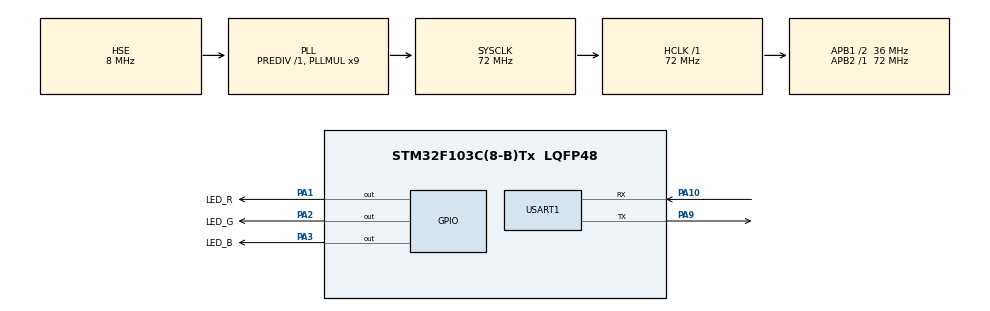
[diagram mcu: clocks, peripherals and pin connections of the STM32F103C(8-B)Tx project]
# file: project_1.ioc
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Mcu.Family=STM32F1
Mcu.Name=STM32F103C(8-B)Tx
Mcu.Package=LQFP48
NVIC.PriorityGroup=NVIC_PRIORITYGROUP_4
NVIC.USART1_IRQn=true\:0\:0\:false\:false\:true\:true\:true\:true
PA1.GPIO_Label=LED_R
PA1.PinState=GPIO_PIN_SET
PA1.Signal=GPIO_Output
PA10.Mode=Asynchronous
PA10.Signal=USART1_RX
PA13.Mode=Serial_Wire
PA13.Signal=SYS_JTMS-SWDIO
PA14.Mode=Serial_Wire
PA14.Signal=SYS_JTCK-SWCLK
PA2.GPIO_Label=LED_G
PA2.PinState=GPIO_PIN_SET
PA2.Signal=GPIO_Output
PA3.GPIO_Label=LED_B
PA3.PinState=GPIO_PIN_SET
PA3.Signal=GPIO_Output
PA9.Mode=Asynchronous
PA9.Signal=USART1_TX
PC14-OSC32_IN.Mode=LSE-External-Oscillator
PC14-OSC32_IN.Signal=RCC_OSC32_IN
PC15-OSC32_OUT.Mode=LSE-External-Oscillator
PC15-OSC32_OUT.Signal=RCC_OSC32_OUT
PD0-OSC_IN.Mode=HSE-External-Oscillator
PD0-OSC_IN.Signal=RCC_OSC_IN
PD1-OSC_OUT.Mode=HSE-External-Oscillator
PD1-OSC_OUT.Signal=RCC_OSC_OUT
ProjectManager.HeapSize=0x200
ProjectManager.StackSize=0x400
ProjectManager.TargetToolchain=MDK-ARM V5.32
RCC.AHBFreq_Value=72000000
RCC.APB1CLKDivider=RCC_HCLK_DIV2
RCC.APB1Freq_Value=36000000
RCC.APB1TimFreq_Value=72000000
RCC.APB2Freq_Value=72000000
RCC.APB2TimFreq_Value=72000000
RCC.HCLKFreq_Value=72000000
RCC.PLLMUL=RCC_PLL_MUL9
RCC.PLLSourceVirtual=RCC_PLLSOURCE_HSE
RCC.SYSCLKFreq_VALUE=72000000
RCC.SYSCLKSource=RCC_SYSCLKSOURCE_PLLCLK
RCC.USBFreq_Value=72000000
USART1.VirtualMode=VM_ASYNC
board=custom

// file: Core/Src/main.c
/* USER CODE BEGIN Header */
/**
  ******************************************************************************
  * @file           : main.c
  * @brief          : Main program body
  ******************************************************************************
  * @attention
  *
  * Copyright (c) 2025 STMicroelectronics.
  * All rights reserved.
  *
  * This software is licensed under terms that can be found in the LICENSE file
  * in the root directory of this software component.
  * If no LICENSE file comes with this software, it is provided AS-IS.
  *
  ******************************************************************************
  */
/* USER CODE END Header */
#include "main.h"
#include "usart.h"
#include "gpio.h"

/* USER CODE BEGIN Includes */
#include <stdio.h>
#include <string.h>
/* USER CODE END Includes */

/* USER CODE BEGIN PV */
uint8_t Rxbuff[6]  ={0};
uint8_t Rxcount = 0;
/* USER CODE END PV */

void SystemClock_Config(void);

int main(void)
{

  /* MCU Configuration--------------------------------------------------------*/

  /* Reset of all peripherals, Initializes the Flash interface and the Systick. */
  HAL_Init();

  /* Configure the system clock */
  SystemClock_Config();

  /* Initialize all configured peripherals */
  MX_GPIO_Init();
  MX_USART1_UART_Init();
  /* USER CODE BEGIN 2 */
	HAL_UART_Receive_IT(&huart1,Rxbuff,1);
	printf("start_success");
  /* USER CODE END 2 */

  /* Infinite loop */
  while (1)
  {

  }
}

void SystemClock_Config(void)
{
  RCC_OscInitTypeDef RCC_OscInitStruct = {0};
  RCC_ClkInitTypeDef RCC_ClkInitStruct = {0};

  /** Initializes the RCC Oscillators according to the specified parameters
  * in the RCC_OscInitTypeDef structure.
  */
  RCC_OscInitStruct.OscillatorType = RCC_OSCILLATORTYPE_HSE;
  RCC_OscInitStruct.HSEState = RCC_HSE_ON;
  RCC_OscInitStruct.HSEPredivValue = RCC_HSE_PREDIV_DIV1;
  RCC_OscInitStruct.HSIState = RCC_HSI_ON;
  RCC_OscInitStruct.PLL.PLLState = RCC_PLL_ON;
  RCC_OscInitStruct.PLL.PLLSource = RCC_PLLSOURCE_HSE;
  RCC_OscInitStruct.PLL.PLLMUL = RCC_PLL_MUL9;
  if (HAL_RCC_OscConfig(&RCC_OscInitStruct) != HAL_OK)
  {
    Error_Handler();
  }

  /** Initializes the CPU, AHB and APB buses clocks
  */
  RCC_ClkInitStruct.ClockType = RCC_CLOCKTYPE_HCLK|RCC_CLOCKTYPE_SYSCLK
                              |RCC_CLOCKTYPE_PCLK1|RCC_CLOCKTYPE_PCLK2;
  RCC_ClkInitStruct.SYSCLKSource = RCC_SYSCLKSOURCE_PLLCLK;
  RCC_ClkInitStruct.AHBCLKDivider = RCC_SYSCLK_DIV1;
  RCC_ClkInitStruct.APB1CLKDivider = RCC_HCLK_DIV2;
  RCC_ClkInitStruct.APB2CLKDivider = RCC_HCLK_DIV1;

  if (HAL_RCC_ClockConfig(&RCC_ClkInitStruct, FLASH_LATENCY_2) != HAL_OK)
  {
    Error_Handler();
  }
}

/* USER CODE BEGIN 4 */
int fputc(int ch,FILE *f){
	HAL_UART_Transmit(&huart1,(uint8_t *)&ch,1,HAL_MAX_DELAY);
	return 0;

}

void HAL_UART_RxCpltCallback(UART_HandleTypeDef *huart)
{
	if(huart -> Instance == USART1){
		Rxcount++;
		if(Rxcount == 5 && strncmp((char *)Rxbuff,"LEDON",5) == 0){//串口判断：仅对USART1的串口数据进行处理
			printf("LED ON!\n");
			HAL_GPIO_WritePin(GPIOA,LED_R_Pin|LED_G_Pin|LED_B_Pin,GPIO_PIN_RESET);//当接收 5 字节且内容为"LEDON"时，输出"LED ON!"，
																																			//并将GPIOA的 RGB-LED 引脚置低（点亮 LED）；
			Rxcount = 0;																						//数据接收计数：Rxcount记录当前接收的字节数；
			memset(Rxbuff, 0,sizeof(Rxbuff));

			}
		else if(Rxcount == 6 && strncmp((char *)Rxbuff,"LEDOFF",6) == 0){
			printf("LED OFF!\n");
			HAL_GPIO_WritePin(GPIOA,LED_R_Pin|LED_G_Pin|LED_B_Pin,GPIO_PIN_SET);
			Rxcount = 0;
			memset(Rxbuff, 0,sizeof(Rxbuff));
			}
		HAL_UART_Receive_IT(&huart1,&Rxbuff[Rxcount],1);//复位与重新接收：指令执行后，
																				//重置Rxcount并清空接收缓存Rxbuff，最后重新开启串口中断接收（HAL_UART_Receive_IT）。

	}
  /* Prevent unused argument(s) compilation warning */
  /* NOTE: This function should not be modified, when the callback is needed,
           the HAL_UART_RxCpltCallback could be implemented in the user file
   */
}
/* USER CODE END 4 */

void Error_Handler(void)
{
  __disable_irq();
  while (1)
  {
  }
}
